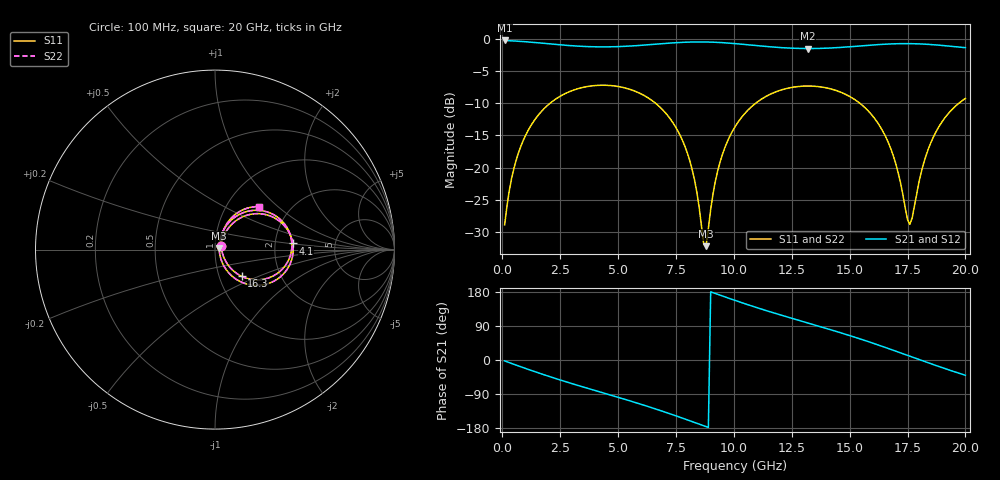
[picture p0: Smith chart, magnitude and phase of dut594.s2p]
! Touchstone file exported from HFSS 2026.1.0
!  File:  C:/ffzhzh/LocalFiles/Ansys_Project_Files/temp_train_TSV_RDL_594_1783121010_50312.aedt
!  Generated:  07:38:30 AM Jul  4, 2026
!  Design:  TSV_RDL
!  Project:  temp_train_TSV_RDL_594_1783121010_50312
! Variables:
!  h_bsmrdl = 5.68um
!  h_ox = 20um
!  h_rdl = 5um
!  h_sub = 96.39um
!  h_tmrdl = 2.69um
!  h_tsv = 96.39um
!  h_via = 3um
!  l_bsmrdl = 826.4um
!  l_sub = 6482.43um
!  l_tmrdl = 870.68um
!  m_sub = 200um
!  pitch = 41.99um
!  r_tsv = 12.42um
!  s_tmrdl = 10um
!  w_bsmrdl = 18.23um
!  w_sub = 500um
!  w_tmrdl = 21.94um
!  x_tsv_center1 = 881.65um
!  x_tsv_center2 = 1726.28um
!  x_tsv_center3 = 2618.9um
!  x_tsv_center4 = 3463.53um
!  x_tsv_center5 = 4356.15um
!  x_tsv_center6 = 5200.78um
# GHz S MA R 50.000000
! Terminal data exported
! Port[1] = TM_RDL1_1_T1
! Port[2] = TM_RDL5_1_T1
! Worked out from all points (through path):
!   200 points, 100 MHz to 20 GHz, reference 50 ohm
!   highest |S21| = -0.27 dB at 100 MHz (marker M1); lowest = -1.5 dB at 13.2 GHz (marker M2)
!   group delay of S21, straight-line fit = 55.1 ps
!   lowest |S11| = -32.2 dB at 8.8 GHz (marker M3), VSWR 1.05, Z = 52.4 + j0.838 ohm
!   |S11| at or under -10 dB: start of sweep to 2.067 GHz; 6.615 GHz to 10.95 GHz (4.332 GHz wide, 49.3 % of centre); 15.43 GHz to 19.72 GHz (4.287 GHz wide, 24.4 % of centre)
!   |S22| runs from -32.2 to -7.2 dB; largest |S21 - S12| = 1.6e-14
!   S11 on the Smith chart (normalised r, x): 100 MHz: 1.06, +0.04; 4.1 GHz: 2.52, +0.21; 16.3 GHz: 1.28, -0.40; 20 GHz: 1.41, +0.77
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0.1  0.03592 31.3  0.9699 -2.4  0.9699 -2.4  0.03592 31.3
! Gamma 0 0 0 0
! Port Impedance 50 0 50 0
0.5  0.09825 58.1  0.9612 -11.4  0.9612 -11.4  0.09825 58.1
1.2  0.2066 53.3  0.9418 -26.5  0.9418 -26.5  0.2066 53.3
3.5  0.4198 14.7  0.872 -71.4  0.872 -71.4  0.4199 14.7
4.1  0.4345 4.5  0.8654 -82.2  0.8654 -82.2  0.4346 4.5
5.5  0.4053 -19.3  0.8773 -107.6  0.8773 -107.6  0.4054 -19.3
6.8  0.2957 -42.3  0.9128 -132.8  0.9128 -132.8  0.2958 -42.3
8  0.1284 -60.8  0.9413 -158.1  0.9413 -158.1  0.1285 -60.8
8.4  0.06472 -58.6  0.9448 -166.9  0.9448 -166.9  0.06485 -58.5
8.7  0.02532 -18.6  0.9447 -173.5  0.9447 -173.5  0.02551 -18.6
8.8  0.02454 19.0  0.9441 -175.7  0.9441 -175.7  0.02468 18.7
9.3  0.09387 66.6  0.9373 173.3  0.9373 173.3  0.09384 66.5
10.1  0.2142 58.3  0.9154 156.2  0.9154 156.2  0.2142 58.3
11.6  0.373 32.6  0.8647 126.6  0.8647 126.6  0.3729 32.5
13.2  0.4296 5.8  0.8395 97.6  0.8395 97.6  0.4296 5.8
13.4  0.4287 2.5  0.8397 94.0  0.8397 94.0  0.4287 2.5
15  0.3566 -24.2  0.866 64.5  0.866 64.5  0.3566 -24.2
16.3  0.2105 -45.1  0.9021 38.3  0.9021 38.3  0.2106 -45.0
16.7  0.1521 -49.4  0.9104 29.7  0.9104 29.7  0.1521 -49.2
17.6  0.03623 9.9  0.9164 10.0  0.9164 10.0  0.03677 9.8
18.5  0.1549 65.7  0.9019 -9.6  0.9019 -9.6  0.155 65.4
20  0.344 44.1  0.8525 -40.3  0.8525 -40.3  0.3441 43.9
